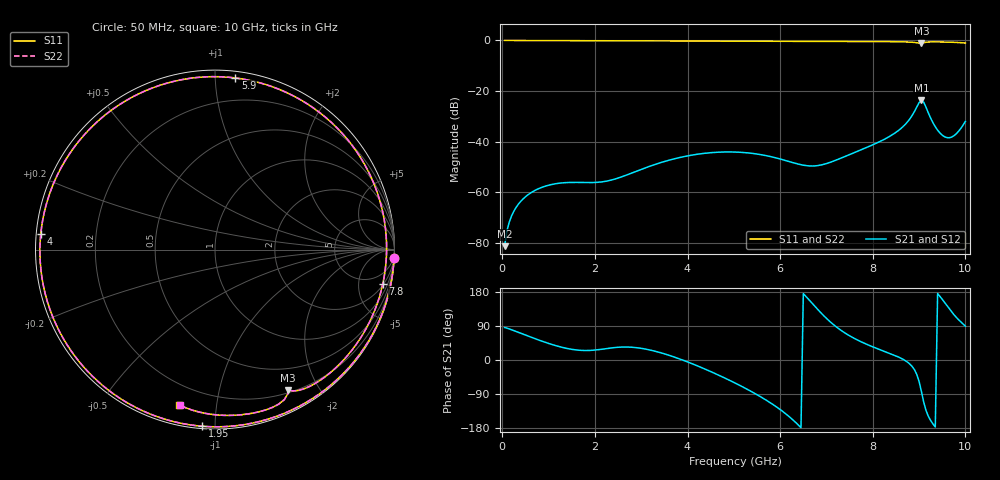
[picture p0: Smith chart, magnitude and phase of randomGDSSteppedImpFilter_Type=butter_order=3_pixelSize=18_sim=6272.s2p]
! freq	dB(S11)	phase(S11)	dB(S12)	phase(S12)
!  dB(S21)	phase(S21)	dB(S22)	phase(S22)
!S-par simulation data
#  GHz  S  DB  R 50
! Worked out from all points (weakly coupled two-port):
!   200 points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, 50 MHz to 10 GHz, reference 50 ohm
!   highest |S21| = -23.68 dB at 9.05 GHz (marker M1); lowest = -81.4 dB at 50 MHz (marker M2)
!   lowest |S11| = -1.1 dB at 9.05 GHz (marker M3), VSWR 15.73, Z = 11.7 - j81.1 ohm
!   |S11| at or under -10 dB: nowhere
!   |S22| runs from -1.1 to 0.0 dB; largest |S21 - S12| = 0
!   S11 on the Smith chart (normalised r, x): 50 MHz: 1, -45; 1.95 GHz: 0.01, -0.93; 4 GHz: 0.01, +0.04; 5.9 GHz: 0.04, +1.13; 7.8 GHz: 2.20, -9.38; 10 GHz: 0.10, -0.79
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0.05  -0.01 -2.6  -81.40 85.7  -81.40 85.7  -0.01 -2.6
0.15  -0.01 -7.6  -71.90 82.1  -71.90 82.1  -0.01 -7.5
0.25  -0.02 -12.6  -67.54 77.5  -67.54 77.5  -0.02 -12.6
0.55  -0.03 -27.5  -61.13 63.4  -61.13 63.4  -0.03 -27.5
1.15  -0.07 -56.8  -56.69 38.1  -56.69 38.1  -0.07 -56.7
1.75  -0.10 -85.0  -56.22 25.1  -56.22 25.1  -0.10 -84.9
1.95  -0.12 -94.1  -56.23 25.7  -56.23 25.7  -0.12 -94.1
2.6  -0.15 -123.3  -53.82 34.2  -53.82 34.2  -0.15 -123.2
3.4  -0.19 -158.5  -48.46 19.9  -48.46 19.9  -0.19 -158.4
4  -0.22 174.9  -45.68 -5.0  -45.68 -5.0  -0.22 174.9
5.05  -0.29 125.8  -44.17 -62.2  -44.17 -62.2  -0.29 125.9
5.9  -0.33 83.2  -46.42 -122.0  -46.42 -122.0  -0.33 83.3
6.7  -0.35 42.1  -49.68 148.5  -49.68 148.5  -0.35 42.2
7.25  -0.37 14.6  -47.04 83.9  -47.04 83.9  -0.37 14.7
7.8  -0.41 -11.5  -42.87 45.1  -42.87 45.1  -0.41 -11.5
8.35  -0.48 -36.0  -38.11 18.2  -38.11 18.2  -0.48 -36.0
8.75  -0.61 -53.1  -32.22 -5.7  -32.22 -5.7  -0.61 -53.0
9.05  -1.11 -62.5  -23.68 -82.9  -23.68 -82.9  -1.11 -62.5
9.35  -0.57 -74.6  -34.15 -176.8  -34.15 -176.8  -0.57 -74.5
9.55  -0.63 -83.0  -38.12 152.0  -38.12 152.0  -0.63 -83.0
9.75  -0.75 -91.5  -37.75 120.0  -37.75 120.0  -0.75 -91.4
10  -1.04 -103.0  -32.04 89.2  -32.04 89.2  -1.03 -102.9
